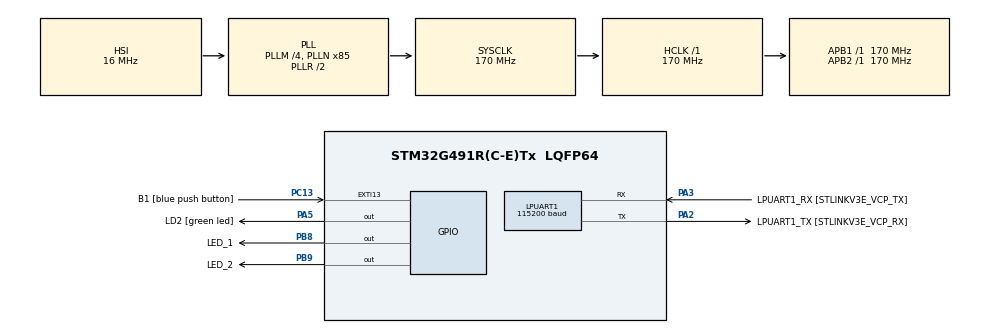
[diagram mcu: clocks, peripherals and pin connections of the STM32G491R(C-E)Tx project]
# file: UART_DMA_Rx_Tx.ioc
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Dma.LPUART1_RX.0.Direction=DMA_PERIPH_TO_MEMORY
Dma.LPUART1_RX.0.EventEnable=DISABLE
Dma.LPUART1_RX.0.Instance=DMA1_Channel1
Dma.LPUART1_RX.0.MemDataAlignment=DMA_MDATAALIGN_BYTE
Dma.LPUART1_RX.0.MemInc=DMA_MINC_ENABLE
Dma.LPUART1_RX.0.Mode=DMA_NORMAL
Dma.LPUART1_RX.0.PeriphDataAlignment=DMA_PDATAALIGN_BYTE
Dma.LPUART1_RX.0.PeriphInc=DMA_PINC_DISABLE
Dma.LPUART1_RX.0.Polarity=HAL_DMAMUX_REQ_GEN_RISING
Dma.LPUART1_RX.0.Priority=DMA_PRIORITY_LOW
Dma.LPUART1_RX.0.RequestNumber=1
Dma.LPUART1_RX.0.SignalID=NONE
Dma.LPUART1_RX.0.SyncEnable=DISABLE
Dma.LPUART1_RX.0.SyncPolarity=HAL_DMAMUX_SYNC_NO_EVENT
Dma.LPUART1_RX.0.SyncRequestNumber=1
Dma.LPUART1_RX.0.SyncSignalID=NONE
Dma.LPUART1_TX.1.Direction=DMA_MEMORY_TO_PERIPH
Dma.LPUART1_TX.1.EventEnable=DISABLE
Dma.LPUART1_TX.1.Instance=DMA1_Channel2
Dma.LPUART1_TX.1.MemDataAlignment=DMA_MDATAALIGN_BYTE
Dma.LPUART1_TX.1.MemInc=DMA_MINC_ENABLE
Dma.LPUART1_TX.1.Mode=DMA_NORMAL
Dma.LPUART1_TX.1.PeriphDataAlignment=DMA_PDATAALIGN_BYTE
Dma.LPUART1_TX.1.PeriphInc=DMA_PINC_DISABLE
Dma.LPUART1_TX.1.Polarity=HAL_DMAMUX_REQ_GEN_RISING
Dma.LPUART1_TX.1.Priority=DMA_PRIORITY_LOW
Dma.LPUART1_TX.1.RequestNumber=1
Dma.LPUART1_TX.1.SignalID=NONE
Dma.LPUART1_TX.1.SyncEnable=DISABLE
Dma.LPUART1_TX.1.SyncPolarity=HAL_DMAMUX_SYNC_NO_EVENT
Dma.LPUART1_TX.1.SyncRequestNumber=1
Dma.LPUART1_TX.1.SyncSignalID=NONE
Dma.Request0=LPUART1_RX
Dma.Request1=LPUART1_TX
LPUART1.BaudRate=115200
LPUART1.WordLength=UART_WORDLENGTH_8B
Mcu.Family=STM32G4
Mcu.Name=STM32G491R(C-E)Tx
Mcu.Package=LQFP64
NVIC.DMA1_Channel1_IRQn=true\:0\:0\:false\:true\:true\:1\:false\:true\:true
NVIC.DMA1_Channel2_IRQn=true\:0\:0\:false\:true\:true\:2\:false\:true\:true
NVIC.EXTI15_10_IRQn=true\:0\:0\:false\:true\:true\:3\:true\:true\:true
NVIC.LPUART1_IRQn=true\:0\:0\:false\:true\:true\:4\:true\:true\:true
NVIC.PriorityGroup=NVIC_PRIORITYGROUP_4
PA13.GPIO_Label=T_SWDIO
PA13.Mode=Serial_Wire
PA13.Signal=SYS_JTMS-SWDIO
PA14.GPIO_Label=T_SWCLK
PA14.Mode=Serial_Wire
PA14.Signal=SYS_JTCK-SWCLK
PA2.GPIO_Label=LPUART1_TX [STLINKV3E_VCP_RX]
PA2.Mode=Asynchronous
PA2.Signal=LPUART1_TX
PA3.GPIO_Label=LPUART1_RX [STLINKV3E_VCP_TX]
PA3.Mode=Asynchronous
PA3.Signal=LPUART1_RX
PA5.GPIO_Label=LD2 [green led]
PA5.Signal=GPIO_Output
PB3.GPIO_Label=T_SWO
PB3.Signal=SYS_JTDO-SWO
PB8-BOOT0.GPIO_Label=LED_1
PB8-BOOT0.Signal=GPIO_Output
PB9.GPIO_Label=LED_2
PB9.Signal=GPIO_Output
PC13.GPIO_Label=B1 [blue push button]
PC13.Signal=GPXTI13
PC14-OSC32_IN.Mode=LSE-External-Oscillator
PC14-OSC32_IN.Signal=RCC_OSC32_IN
PC15-OSC32_OUT.Mode=LSE-External-Oscillator
PC15-OSC32_OUT.Signal=RCC_OSC32_OUT
PF0-OSC_IN.Mode=HSE-External-Oscillator
PF0-OSC_IN.Signal=RCC_OSC_IN
PF1-OSC_OUT.Mode=HSE-External-Oscillator
PF1-OSC_OUT.Signal=RCC_OSC_OUT
ProjectManager.HeapSize=0x200
ProjectManager.StackSize=0x400
ProjectManager.TargetToolchain=STM32CubeIDE
RCC.ADC12Freq_Value=170000000
RCC.ADC345Freq_Value=170000000
RCC.AHBFreq_Value=170000000
RCC.APB1Freq_Value=170000000
RCC.APB1TimFreq_Value=170000000
RCC.APB2Freq_Value=170000000
RCC.APB2TimFreq_Value=170000000
RCC.CortexFreq_Value=170000000
RCC.EXTERNAL_CLOCK_VALUE=12288000
RCC.HCLKFreq_Value=170000000
RCC.HSE_VALUE=24000000
RCC.HSI48_VALUE=48000000
RCC.HSI_VALUE=16000000
RCC.PLLM=RCC_PLLM_DIV4
RCC.PLLN=85
RCC.RTCClockSelection=RCC_RTCCLKSOURCE_LSE
RCC.SYSCLKFreq_VALUE=170000000
RCC.SYSCLKSource=RCC_SYSCLKSOURCE_PLLCLK
RCC.USBFreq_Value=48000000
RCC.VCOOutputFreq_Value=340000000
VP_SYS_VS_DBSignals.Mode=DisableDeadBatterySignals
board=NUCLEO-G491RE

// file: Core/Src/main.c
/* USER CODE BEGIN Header */
/**
  ******************************************************************************
  * @file           : main.c
  * @brief          : Main program body
  ******************************************************************************
  * @attention
  *
  * Copyright (c) 2024 STMicroelectronics.
  * All rights reserved.
  *
  * This software is licensed under terms that can be found in the LICENSE file
  * in the root directory of this software component.
  * If no LICENSE file comes with this software, it is provided AS-IS.
  *
  ******************************************************************************
  */
/* USER CODE END Header */
#include "main.h"
#include "dma.h"
#include "usart.h"
#include "gpio.h"

/* USER CODE BEGIN Includes */
#include "stdio.h"
#include "parse.h"
#include "transmit.h"
/* USER CODE END Includes */

/* USER CODE BEGIN PV */
uint8_t Buff[128];
uint8_t MessageWelcome[128];
uint8_t LengthWelcome;
/* USER CODE END PV */

void SystemClock_Config(void);
static void MX_NVIC_Init(void);
/* USER CODE BEGIN PFP */
void HAL_UARTEx_RxEventCallback(UART_HandleTypeDef *huart, uint16_t Size);
void HAL_UART_TxCpltCallback(UART_HandleTypeDef *huart);

/* USER CODE END PFP */

int main(void)
{

  /* MCU Configuration--------------------------------------------------------*/

  /* Reset of all peripherals, Initializes the Flash interface and the Systick. */
  HAL_Init();

  /* Configure the system clock */
  SystemClock_Config();

  /* Initialize all configured peripherals */
  MX_GPIO_Init();
  MX_DMA_Init();
  MX_LPUART1_UART_Init();

  /* Initialize interrupts */
  MX_NVIC_Init();
  /* USER CODE BEGIN 2 */
  LengthWelcome = sprintf((char*)MessageWelcome, "Welcome, input your command:\n\r");
  HAL_UART_Transmit_DMA(&hlpuart1, MessageWelcome, LengthWelcome);

  HAL_UARTEx_ReceiveToIdle_DMA(&hlpuart1, Buff, 32);
  /* USER CODE END 2 */

  /* Infinite loop */
  while (1)
  {

  }
}

void SystemClock_Config(void)
{
  RCC_OscInitTypeDef RCC_OscInitStruct = {0};
  RCC_ClkInitTypeDef RCC_ClkInitStruct = {0};

  /** Configure the main internal regulator output voltage
  */
  HAL_PWREx_ControlVoltageScaling(PWR_REGULATOR_VOLTAGE_SCALE1_BOOST);

  /** Initializes the RCC Oscillators according to the specified parameters
  * in the RCC_OscInitTypeDef structure.
  */
  RCC_OscInitStruct.OscillatorType = RCC_OSCILLATORTYPE_HSI;
  RCC_OscInitStruct.HSIState = RCC_HSI_ON;
  RCC_OscInitStruct.HSICalibrationValue = RCC_HSICALIBRATION_DEFAULT;
  RCC_OscInitStruct.PLL.PLLState = RCC_PLL_ON;
  RCC_OscInitStruct.PLL.PLLSource = RCC_PLLSOURCE_HSI;
  RCC_OscInitStruct.PLL.PLLM = RCC_PLLM_DIV4;
  RCC_OscInitStruct.PLL.PLLN = 85;
  RCC_OscInitStruct.PLL.PLLP = RCC_PLLP_DIV2;
  RCC_OscInitStruct.PLL.PLLQ = RCC_PLLQ_DIV2;
  RCC_OscInitStruct.PLL.PLLR = RCC_PLLR_DIV2;
  if (HAL_RCC_OscConfig(&RCC_OscInitStruct) != HAL_OK)
  {
    Error_Handler();
  }

  /** Initializes the CPU, AHB and APB buses clocks
  */
  RCC_ClkInitStruct.ClockType = RCC_CLOCKTYPE_HCLK|RCC_CLOCKTYPE_SYSCLK
                              |RCC_CLOCKTYPE_PCLK1|RCC_CLOCKTYPE_PCLK2;
  RCC_ClkInitStruct.SYSCLKSource = RCC_SYSCLKSOURCE_PLLCLK;
  RCC_ClkInitStruct.AHBCLKDivider = RCC_SYSCLK_DIV1;
  RCC_ClkInitStruct.APB1CLKDivider = RCC_HCLK_DIV1;
  RCC_ClkInitStruct.APB2CLKDivider = RCC_HCLK_DIV1;

  if (HAL_RCC_ClockConfig(&RCC_ClkInitStruct, FLASH_LATENCY_4) != HAL_OK)
  {
    Error_Handler();
  }
}

/**
  * @brief NVIC Configuration.
  * @retval None
  */
static void MX_NVIC_Init(void)
{
  /* DMA1_Channel1_IRQn interrupt configuration */
  HAL_NVIC_SetPriority(DMA1_Channel1_IRQn, 0, 0);
  HAL_NVIC_EnableIRQ(DMA1_Channel1_IRQn);
  /* LPUART1_IRQn interrupt configuration */
  HAL_NVIC_SetPriority(LPUART1_IRQn, 0, 0);
  HAL_NVIC_EnableIRQ(LPUART1_IRQn);
  /* EXTI15_10_IRQn interrupt configuration */
  HAL_NVIC_SetPriority(EXTI15_10_IRQn, 0, 0);
  HAL_NVIC_EnableIRQ(EXTI15_10_IRQn);
}

/* USER CODE BEGIN 4 */
void HAL_UARTEx_RxEventCallback(UART_HandleTypeDef *huart, uint16_t Size)
{

	if(huart->Instance == LPUART1)
	{
		Parse(Size);
	}

}

void HAL_UART_TxCpltCallback(UART_HandleTypeDef *huart)
{
	if(huart->Instance == LPUART1)
	{

	}
}
/* USER CODE END 4 */

void Error_Handler(void)
{
  __disable_irq();
  while (1)
  {
  }
}
